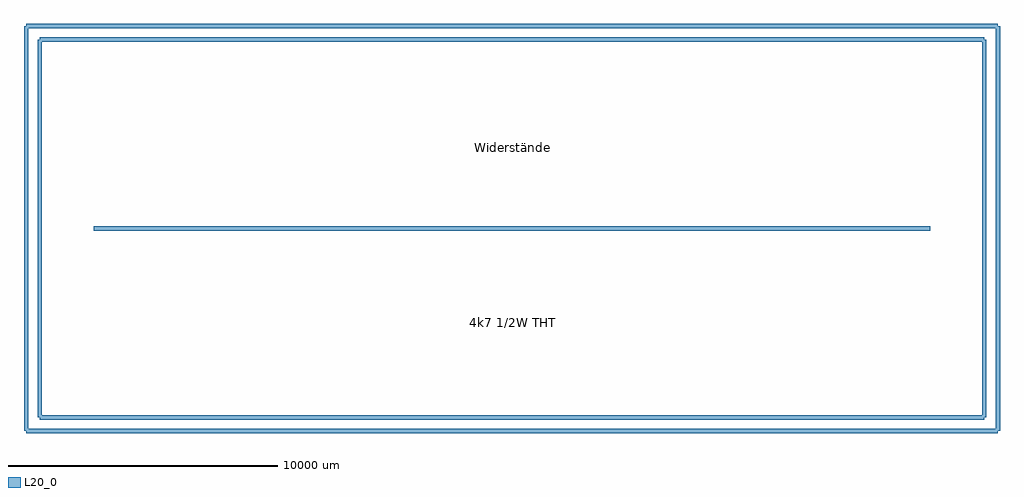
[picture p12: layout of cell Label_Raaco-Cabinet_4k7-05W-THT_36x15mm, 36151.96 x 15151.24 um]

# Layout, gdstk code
import gdstk
lib = gdstk.Library(unit=1e-6, precision=1e-09)
L20_0 = (20, 0)

label_raaco_cabinet_4k7_ = lib.new_cell('Label_Raaco-Cabinet_4k7-05W-THT_36x15mm')
label_raaco_cabinet_4k7_.add(gdstk.FlexPath([(-18000.98,-7500.62),(0,-7500.62)], 149.998, ends="flush", simple_path=True, layer=20, datatype=0))  # L20_0
label_raaco_cabinet_4k7_.add(gdstk.FlexPath([(-18000.98,7500.62),(-18000.98,-7500.62)], 149.998, ends="flush", simple_path=True, layer=20, datatype=0))  # L20_0
label_raaco_cabinet_4k7_.add(gdstk.FlexPath([(18000.98,7500.62),(-18000.98,7500.62)], 149.998, ends="flush", simple_path=True, layer=20, datatype=0))  # L20_0
label_raaco_cabinet_4k7_.add(gdstk.FlexPath([(18000.98,-7500.62),(18000.98,7500.62)], 149.998, ends="flush", simple_path=True, layer=20, datatype=0))  # L20_0
label_raaco_cabinet_4k7_.add(gdstk.FlexPath([(0,-7500.62),(18000.98,-7500.62)], 149.998, ends="flush", simple_path=True, layer=20, datatype=0))  # L20_0
label_raaco_cabinet_4k7_.add(gdstk.FlexPath([(-17500.6,-7000.24),(-17500.6,7000.24)], 149.998, ends="flush", simple_path=True, layer=20, datatype=0))  # L20_0
label_raaco_cabinet_4k7_.add(gdstk.FlexPath([(17500.6,-7000.24),(-17500.6,-7000.24)], 149.998, ends="flush", simple_path=True, layer=20, datatype=0))  # L20_0
label_raaco_cabinet_4k7_.add(gdstk.FlexPath([(17500.6,7000.24),(17500.6,-7000.24)], 149.998, ends="flush", simple_path=True, layer=20, datatype=0))  # L20_0
label_raaco_cabinet_4k7_.add(gdstk.FlexPath([(-17500.6,7000.24),(17500.6,7000.24)], 149.998, ends="flush", simple_path=True, layer=20, datatype=0))  # L20_0
label_raaco_cabinet_4k7_.add(gdstk.FlexPath([(-15499.08,0),(15499.08,0)], 149.998, ends="flush", simple_path=True, layer=20, datatype=0))  # L20_0
label_raaco_cabinet_4k7_.add(gdstk.Label('Widerstände', (0,2999.74), layer=9, texttype=0))
label_raaco_cabinet_4k7_.add(gdstk.Label('4k7 1/2W THT', (0,-3500.12), layer=9, texttype=0))
label_raaco_cabinet_4k7_.add(gdstk.Label('type', (0,-9652), layer=9, texttype=0))
label_raaco_cabinet_4k7_.add(gdstk.Label('devicename', (254,9398), layer=9, texttype=0))

lib.write_gds('Label_Raaco-Cabinet_4k7-05W-THT_36x15mm.gds')
